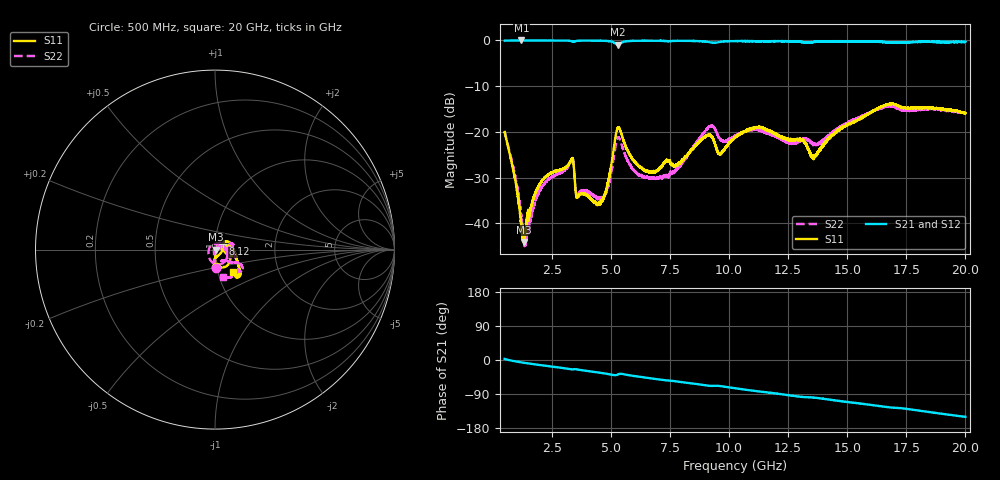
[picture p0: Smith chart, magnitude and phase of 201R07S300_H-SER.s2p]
!{201R07S300}
!Johanson Technology Inc.
!www.johansontechnology.com
!Test Board Conditions:
!Substrate Type  RO4350B
!Substrate Thickness  10 mil
!Substrate Dk  3.66
!TL Type: GCPW
!TL Trace Width  21 mil
!TL Gap  20 mil
!Electrode orientation  Horizontal
!DUT TOPOLOGY	SERIES
!Mounting Pad LxW  16x21 mil
!Agilent Technologies,N5230A,MY45001966,A.07.50.67
!Agilent N5230A: A.07.50.67
! Created Mon Mar  9 16:11:53 2020
# mhz S ma R 50
! 2 Port Network Data from SP1.SP block
! freq  magS11  angS11  magS21  angS21  magS12  angS12  magS22  angS22
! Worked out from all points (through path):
!   19501 points, 500 MHz to 20 GHz, reference 50 ohm
!   highest |S21| = -0.01 dB at 1.211 GHz (marker M1); lowest = -0.9 dB at 5.289 GHz (marker M2)
!   group delay of S21, straight-line fit = 20.9 ps
!   lowest |S11| = -44.1 dB at 1.311 GHz (marker M3), VSWR 1.01, Z = 50.6 - j0.126 ohm
!   |S11| at or under -10 dB: start of sweep to end of sweep
!   |S22| runs from -45.0 to -14.3 dB; largest |S21 - S12| = 0.015
!   S11 on the Smith chart (normalised r, x): 500 MHz: 0.99, -0.20; 8.12 GHz: 1.09, +0.06; 20 GHz: 1.19, -0.30
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500  0.09973 -86.6  0.9928 2.9  0.9946 2.9  0.1014 -87.5
931  0.03119 -88.4  0.9977 -3.4  0.9981 -3.3  0.03427 -98.0
1211  0.008978 -60.7  0.999 -6.3  0.9969 -6.3  0.01158 -119.8
1311  0.006254 -11.4  0.9984 -7.3  0.9978 -7.3  0.006624 -150.3
1787  0.02085 53.2  0.9981 -11.5  0.9977 -11.5  0.01709 103.6
2300  0.03324 58.3  0.9967 -15.8  0.9977 -15.7  0.02913 86.7
3330  0.0503 48.2  0.9825 -24.7  0.9833 -24.7  0.04955 46.1
3565  0.01923 39.6  0.9895 -24.9  0.9894 -24.9  0.02055 31.8
3750  0.02126 57.1  0.9944 -26.8  0.9938 -26.8  0.02245 46.6
4619  0.01779 25.2  0.9912 -34.4  0.9909 -34.4  0.0191 46.6
4879  0.0287 10.3  0.9831 -37.1  0.9847 -37.1  0.02569 37.1
5289  0.1104 -47.2  0.8993 -38.3  0.8996 -38.2  0.08629 -50.4
6127  0.04359 -82.3  0.9896 -43.6  0.9907 -43.6  0.0346 -177.5
7000  0.0383 -20.6  0.9913 -51.0  0.9908 -51.0  0.03145 97.4
8120  0.05273 34.2  0.9891 -59.3  0.9895 -59.4  0.05053 17.8
9192  0.0932 14.9  0.9542 -68.1  0.9526 -68.2  0.1148 -15.5
9610  0.05644 10.9  0.9627 -68.7  0.9611 -68.7  0.08374 -26.2
10250  0.08791 11.7  0.983 -74.4  0.9828 -74.4  0.09116 2.7
11348  0.1116 -16.3  0.9781 -83.7  0.9777 -83.5  0.1035 19.1
13500  0.05365 -9.0  0.9574 -98.8  0.9569 -98.8  0.07539 -61.0
16750  0.1998 -46.3  0.9549 -124.4  0.9484 -124.7  0.1902 -37.7
20000  0.1598 -50.4  0.9587 -150.1  0.9604 -150.0  0.161 -74.2
